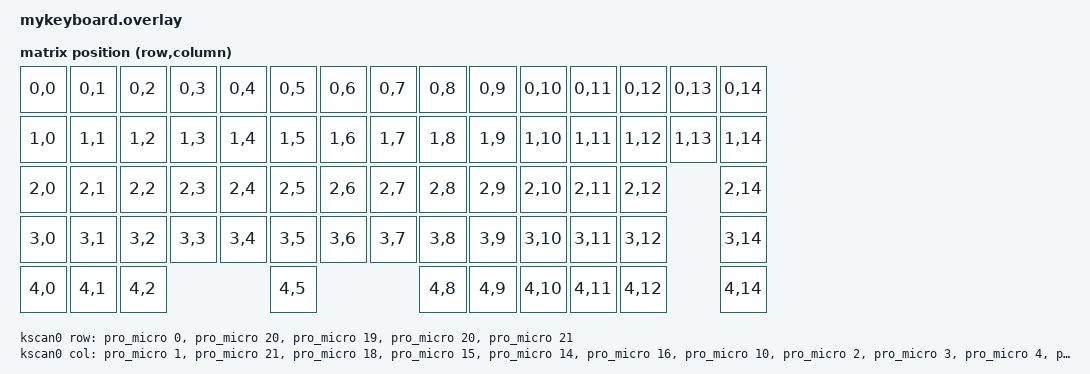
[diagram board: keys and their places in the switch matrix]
#include <dt-bindings/zmk/matrix_transform.h> // Put this with the other includes at the top of your overlay



/ {
    chosen {
        zmk,kscan = &default_kscan;
        zmk,matrix_transform = &default_transform;
    };

    kscan0: kscan0 {
        compatible = "zmk,kscan-gpio-matrix";
        label = "default_kscan";
        diode-direction = "col2row";

        row-gpios =
            <&pro_micro 0  (GPIO_ACTIVE_HIGH | GPIO_PULL_DOWN)>,   // P0.08 → Pro Micro 1
            <&pro_micro 20 (GPIO_ACTIVE_HIGH | GPIO_PULL_DOWN)>,   // P1.07 → Pro Micro 20
            <&pro_micro 19  (GPIO_ACTIVE_HIGH | GPIO_PULL_DOWN)>,   // P0.02 → Pro Micro 19
            <&pro_micro 20 (GPIO_ACTIVE_HIGH | GPIO_PULL_DOWN)>,   // P0.29 → Pro Micro 20
            <&pro_micro 21 (GPIO_ACTIVE_HIGH | GPIO_PULL_DOWN)>;   // P0.31 → Pro Micro 21


        col-gpios =
            <&pro_micro 1  GPIO_ACTIVE_HIGH>,   // P0.06 → Pro Micro 0
            <&pro_micro 21 GPIO_ACTIVE_HIGH>,   // P1.02 → Pro Micro 21
            <&pro_micro 18 GPIO_ACTIVE_HIGH>,   // P1.15 → Pro Micro 18
            <&pro_micro 15 GPIO_ACTIVE_HIGH>,   // P1.13 → Pro Micro 15
            <&pro_micro 14 GPIO_ACTIVE_HIGH>,   // P1.11 → Pro Micro 14
            <&pro_micro 16 GPIO_ACTIVE_HIGH>,   // P0.10 → Pro Micro 16
            <&pro_micro 10  GPIO_ACTIVE_HIGH>,   // P0.09 → Pro Micro 10
            <&pro_micro 2  GPIO_ACTIVE_HIGH>,   // P0.17 → Pro Micro 2
            <&pro_micro 3  GPIO_ACTIVE_HIGH>,   // P0.20 → Pro Micro 3
            <&pro_micro 4  GPIO_ACTIVE_HIGH>,   // P0.22 → Pro Micro 4
            <&pro_micro 5  GPIO_ACTIVE_HIGH>,   // P0.24 → Pro Micro 5
            <&pro_micro 7  GPIO_ACTIVE_HIGH>,   // P0.11 → Pro Micro 7
            <&pro_micro 8  GPIO_ACTIVE_HIGH>,   // P1.04 → Pro Micro 8
            <&pro_micro 9 GPIO_ACTIVE_HIGH>,   // P1.06 → Pro Micro 9
            <&pro_micro 13 GPIO_ACTIVE_HIGH>;   // P1.01 → Pro Micro 13

            // 13, 21, 20 for extra 3 pins


    };

    default_transform: keymap_transform0 {
        compatible = "zmk,matrix-transform";
        columns = <15>; // Length of the "col-gpios" array
        rows = <5>; // Length of the "row-gpios" array
        map = <
            RC(0,0) RC(0,1) RC(0,2) RC(0,3) RC(0,4) RC(0,5) RC(0,6) RC(0,7) RC(0,8) RC(0,9) RC(0,10) RC(0,11) RC(0,12) RC(0,13) RC(0,14)
            RC(1,0) RC(1,1) RC(1,2) RC(1,3) RC(1,4) RC(1,5) RC(1,6) RC(1,7) RC(1,8) RC(1,9) RC(1,10) RC(1,11) RC(1,12) RC(1,13) RC(1,14)
            RC(2,0) RC(2,1) RC(2,2) RC(2,3) RC(2,4) RC(2,5) RC(2,6) RC(2,7) RC(2,8) RC(2,9) RC(2,10) RC(2,11) RC(2,12)          RC(2,14)
            RC(3,0) RC(3,1) RC(3,2) RC(3,3) RC(3,4) RC(3,5) RC(3,6) RC(3,7) RC(3,8) RC(3,9) RC(3,10) RC(3,11) RC(3,12)          RC(3,14)
            RC(4,0) RC(4,1) RC(4,2)                 RC(4,5)                 RC(4,8) RC(4,9) RC(4,10) RC(4,11) RC(4,12)          RC(4,14)
        >;
    };

};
